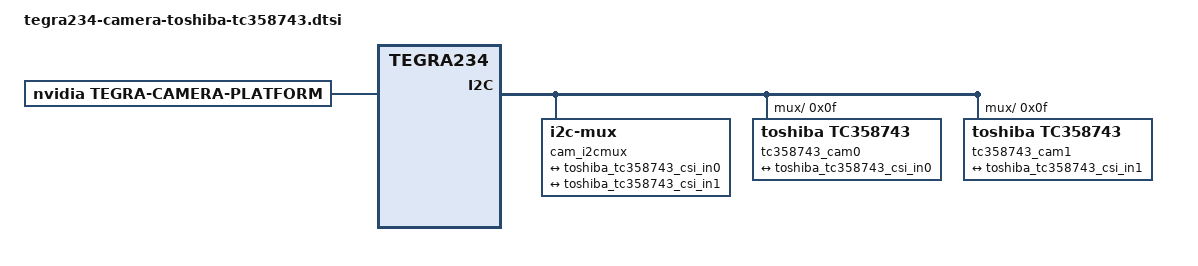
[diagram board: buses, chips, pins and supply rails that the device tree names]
/*
 * Copyright (c) 2022-2023, NVIDIA CORPORATION.  All rights reserved.
 *
 * This program is free software; you can redistribute it and/or modify
 * it under the terms of the GNU General Public License as published by
 * the Free Software Foundation; either version 2 of the License, or
 * (at your option) any later version.
 *
 * This program is distributed in the hope that it will be useful, but WITHOUT
 * ANY WARRANTY; without even the implied warranty of MERCHANTABILITY or
 * FITNESS FOR A PARTICULAR PURPOSE.  See the GNU General Public License for
 * more details.
 *
 * You should have received a copy of the GNU General Public License
 * along with this program.  If not, see <http://www.gnu.org/licenses/>.
 */

/ {
	tegra-capture-vi  {
		num-channels = <2>;
		ports {
			#address-cells = <1>;
			#size-cells = <0>;
			port@0 {
				reg = <0>;
				toshiba_tc358743_vi_in0: endpoint {
					port-index = <0>;
					bus-width = <2>;
					remote-endpoint = <&toshiba_tc358743_csi_out0>;
				};
			};
			port@1 {
				reg = <1>;
				toshiba_tc358743_vi_in1: endpoint {
					port-index = <2>;
					bus-width = <2>;
					remote-endpoint = <&toshiba_tc358743_csi_out1>;
				};
			};
		};
	};

	host1x@13e00000 {
		nvcsi@15a00000 {
			num-channels = <2>;
			#address-cells = <1>;
			#size-cells = <0>;
			channel@0 {
				reg = <0>;
				ports {
					#address-cells = <1>;
					#size-cells = <0>;
					port@0 {
						reg = <0>;
						toshiba_tc358743_csi_in0: endpoint@0 {
							port-index = <0>;
							bus-width = <2>;
							remote-endpoint = <&toshiba_tc358743_out0>;
						};
					};
					port@1 {
						reg = <1>;
						toshiba_tc358743_csi_out0: endpoint@1 {
							remote-endpoint = <&toshiba_tc358743_vi_in0>;
						};
					};
				};
			};
			channel@1 {
				reg = <1>;
				ports {
					#address-cells = <1>;
					#size-cells = <0>;
					port@0 {
						reg = <0>;
						toshiba_tc358743_csi_in1: endpoint@2 {
							port-index = <2>;
							bus-width = <2>;
							remote-endpoint = <&toshiba_tc358743_out1>;
						};
					};
					port@1 {
						reg = <1>;
						toshiba_tc358743_csi_out1: endpoint@3 {
							remote-endpoint = <&toshiba_tc358743_vi_in1>;
						};
					};
				};
			};
		};
	};

	cam_i2cmux {
		i2c@0 {
			tc358743_cam0: toshiba_tc358743_a@0f {
				compatible = "toshiba,tc358743";
				/* I2C device address */
				reg = <0x0f>;

				/* V4L2 device node location */
				devnode = "video0";

				/* Physical dimensions of sensor */
				physical_w = "3.680";
				physical_h = "2.760";

				sensor_model = "tc358743";

				use_sensor_mode_id = "true";

				ports {
					#address-cells = <1>;
					#size-cells = <0>;

					port@0 {
						reg = <0>;
						toshiba_tc358743_out0: endpoint {
							port-index = <0>;
							bus-width = <2>;
							remote-endpoint = <&toshiba_tc358743_csi_in0>;
						};
					};
				};
			};
		};
		i2c@1 {
			tc358743_cam1: toshiba_tc358743_c@0f {
				compatible = "toshiba,tc358743";
				/* I2C device address */
				reg = <0x0f>;

				/* V4L2 device node location */
				devnode = "video1";

				/* Physical dimensions of sensor */
				physical_w = "3.680";
				physical_h = "2.760";

				sensor_model = "tc358743";

				use_sensor_mode_id = "true";

				refclk_hz = <27000000>;  // refclk_hz -> regclk

				ports {
					#address-cells = <1>;
					#size-cells = <0>;

					port@0 {
						reg = <0>;
						toshiba_tc358743_out1: endpoint {
							/*port-index = <2>;*/
							port-index = <0>; /* CSI B */
							bus-width = <2>; /* Use CSI-B only */
							data-lanes = <1 2>;
							clock-lanes = <0>;
							clock-noncontinuous;
							link-frequencies = /bits/ 64 <297000000>;
							/*link-frequencies = /bits/ 64 <148500000>;*/
							remote-endpoint = <&toshiba_tc358743_csi_in1>;
						};
					};
				};
			};
		};
	};
};

/ {
	tegra-camera-platform {
		compatible = "nvidia, tegra-camera-platform";

		/**
		* Physical settings to calculate max ISO BW
		*
		* num_csi_lanes = <>;
		* Total number of CSI lanes when all cameras are active
		*
		* max_lane_speed = <>;
		* Max lane speed in Kbit/s
		*
		* min_bits_per_pixel = <>;
		* Min bits per pixel
		*
		* vi_peak_byte_per_pixel = <>;
		* Max byte per pixel for the VI ISO case
		*
		* vi_bw_margin_pct = <>;
		* Vi bandwidth margin in percentage
		*
		* max_pixel_rate = <>;
		* Max pixel rate in Kpixel/s for the ISP ISO case
		*
		* isp_peak_byte_per_pixel = <>;
		* Max byte per pixel for the ISP ISO case
		*
		* isp_bw_margin_pct = <>;
		* Isp bandwidth margin in percentage
		*/
		num_csi_lanes = <4>;
		max_lane_speed = <1500000>;
		min_bits_per_pixel = <10>;
		vi_peak_byte_per_pixel = <2>;
		vi_bw_margin_pct = <25>;
		max_pixel_rate = <7500000>;
		isp_peak_byte_per_pixel = <5>;
		isp_bw_margin_pct = <25>;

		/**
		 * The general guideline for naming badge_info contains 3 parts, and is as follows,
		 * The first part is the camera_board_id for the module; if the module is in a FFD
		 * platform, then use the platform name for this part.
		 * The second part contains the position of the module, ex. "rear" or "front".
		 * The third part contains the last 6 characters of a part number which is found
		 * in the module's specsheet from the vendor.
		 */
		modules {
			module0 {
				badge = "jakku_front_TOSHIBA";
				position = "front";
				orientation = "1";
				drivernode0 {
					pcl_id = "v4l2_sensor";
					devname = "tc358743 9-000f";
					proc-device-tree = "/proc/device-tree/cam_i2cmux/i2c@0/toshiba_tc358743_a@0f";
				};
			};
			module1 {
				badge = "jakku_rear_TOSHIBA";
				position = "rear";
				orientation = "1";
				drivernode0 {
					pcl_id = "v4l2_sensor";
					devname = "tc358743 10-000f";
					proc-device-tree = "/proc/device-tree/cam_i2cmux/i2c@1/toshiba_tc358743_c@0f";
				};
			};
		};
	};
};
